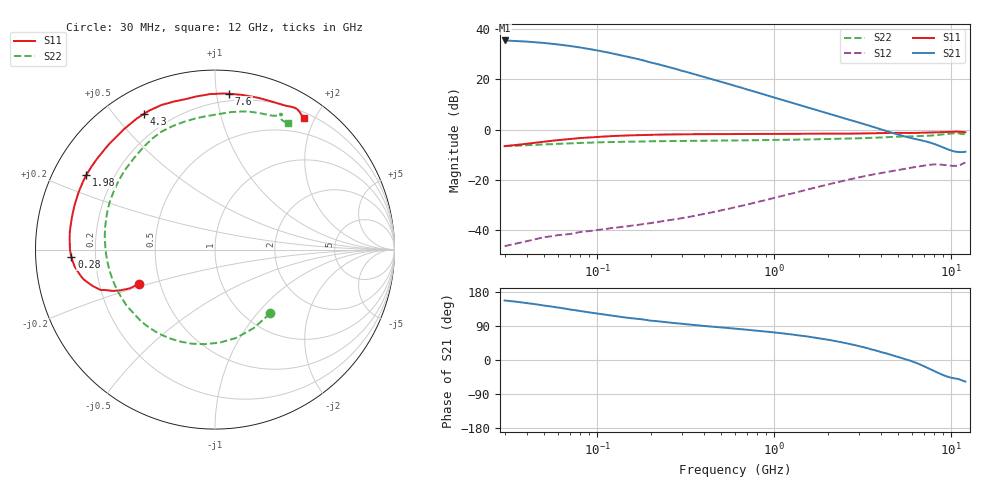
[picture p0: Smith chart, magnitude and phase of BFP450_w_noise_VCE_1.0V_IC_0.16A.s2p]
! (c) 2015  Infineon Technologies AG, Munich
! Infineon Technologies  Discrete & RF Semiconductors
! BFP450
! VCE =  1.0 V,  IC = 0.16 A
! Common Emitter S-Parameters:  Nov 2015
# GHz  S  MA  R  50
!  f  S11  S21  S12  S22
! GHz  MAG  ANG  MAG  ANG  MAG  ANG  MAG  ANG
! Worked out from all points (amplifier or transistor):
!   239 points, 30 MHz to 12 GHz, reference 50 ohm
!   highest |S21| = 35.6 dB at 30 MHz (marker M1)
!   |S21| within 3 dB of that: start of sweep to 83.42 MHz
!   unconditionally stable (mu >= 1): start of sweep to 37.41 MHz; 489.5 MHz to end of sweep
!   at 300 MHz: K = 0.89, MSG = 29.4 dB, |S12| = -35.4 dB
!   at 1.88 GHz: K = 1.13, MAG = 12.5 dB, |S12| = -22.4 dB
!   at 12 GHz: K = 1.10, MAG = 0.2 dB, |S12| = -13.2 dB
!   lowest NFmin = 2.68 dB at 450 MHz
!   S11 on the Smith chart (normalised r, x): 30 MHz: 0.38, -0.19; 280 MHz: 0.11, -0.03; 1.98 GHz: 0.10, +0.27; 4.3 GHz: 0.11, +0.60; 7.6 GHz: 0.15, +1.08; 12 GHz: 0.28, +1.85
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0.03  0.4651 -155.7  60.03 157.1  0.0047 75.2  0.4699 -49.2
0.04  0.5204 -155.5  57 150.2  0.0059 69.6  0.4876 -63.7
0.05  0.574 -156.7  53.57 143.7  0.0071 65.7  0.5063 -76.6
0.06  0.615 -158.0  49.99 138.5  0.0078 62.9  0.5192 -87.2
0.07  0.6456 -159.5  46.63 133.3  0.0082 58.8  0.5298 -96.3
0.085  0.6859 -161.4  42.04 127.6  0.0092 56.9  0.5431 -107.4
0.1  0.7125 -163.6  37.97 122.4  0.0099 55.0  0.5544 -116.4
0.11  0.7269 -165.0  35.65 119.6  0.0103 54.4  0.5598 -121.4
0.13  0.7493 -167.1  31.48 114.8  0.0111 53.5  0.5682 -129.7
0.15  0.7646 -169.2  28.08 111.0  0.0118 53.0  0.574 -136.1
0.2  0.7877 -173.1  21.83 103.9  0.0136 54.1  0.5832 -147.5
0.24  0.7956 -175.3  18.62 100.2  0.015 55.3  0.5865 -153.4
0.28  0.8013 -177.1  16.09 97.0  0.0163 56.5  0.5899 -158.1
0.4  0.8092 178.5  11.24 89.9  0.0206 59.6  0.5979 -167.6
0.6  0.8149 173.4  7.424 82.6  0.028 62.1  0.606 -176.5
1  0.8179 165.7  4.344 72.6  0.0432 62.0  0.619 172.7
1.64  0.8255 155.2  2.595 60.2  0.067 56.5  0.6363 160.4
1.98  0.8287 149.8  2.13 54.1  0.0791 52.7  0.6448 154.5
4.3  0.8535 117.6  0.933 17.3  0.1414 24.7  0.7035 121.9
4.5  0.8569 115.4  0.885 14.5  0.1455 22.7  0.71 119.7
7.6  0.8721 85.0  0.547 -24.2  0.1985 -11.1  0.756 88.2
12  0.8819 56.0  0.36 -57.0  0.2195 -42.8  0.8127 60.0
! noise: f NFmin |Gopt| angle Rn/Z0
0.45  2.68  0.71  -172  0.07
0.9  2.73  0.73  -165  0.1
1.9  2.84  0.73  -148  0.24
2.4  2.91  0.73  -138  0.37
